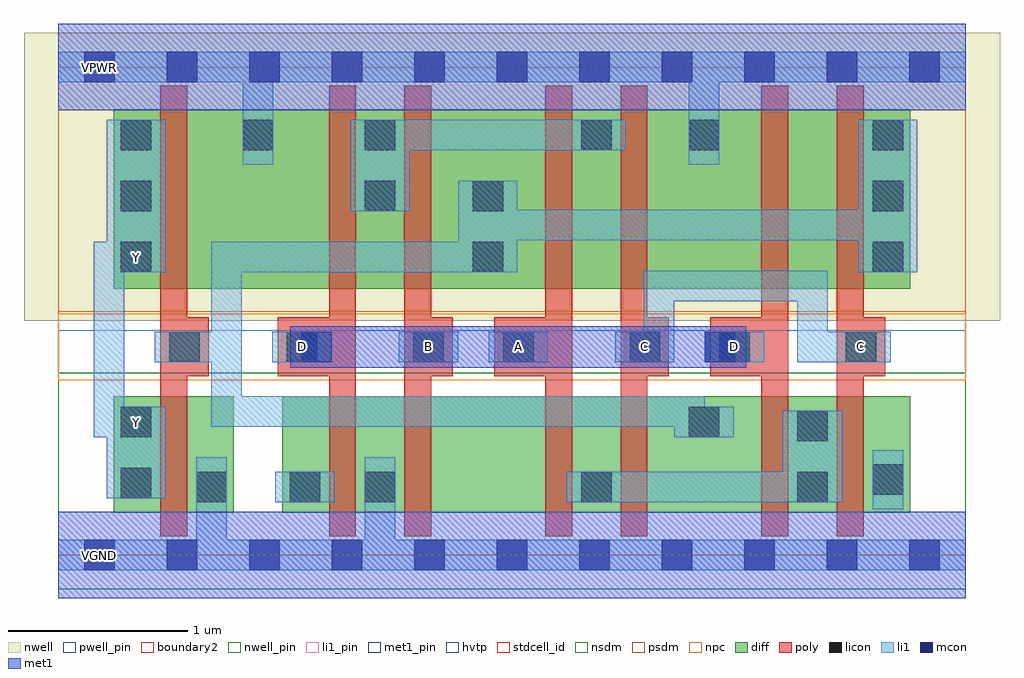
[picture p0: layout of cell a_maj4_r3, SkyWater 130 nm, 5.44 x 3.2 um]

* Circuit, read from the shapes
.subckt a_maj4_r3 A B C D VGND VNB VPB VPWR Y
XM1 VGND n1 Y VNB sky130_fd_pr__nfet_01v8 w=0.65 l=0.15
XM2 VGND D n2 VNB sky130_fd_pr__nfet_01v8 w=0.65 l=0.15
XM3 n3 B VGND VNB sky130_fd_pr__nfet_01v8 w=0.65 l=0.15
XM4 n4 A n3 VNB sky130_fd_pr__nfet_01v8 w=0.65 l=0.15
XM5 n1 C n4 VNB sky130_fd_pr__nfet_01v8 w=0.65 l=0.15
XM6 n4 D n1 VNB sky130_fd_pr__nfet_01v8 w=0.65 l=0.15
XM7 n5 C n4 VNB sky130_fd_pr__nfet_01v8 w=0.65 l=0.15
XM8 VPWR n1 Y VPB sky130_fd_pr__pfet_01v8_hvt w=1 l=0.15
XM9 n6 D VPWR VPB sky130_fd_pr__pfet_01v8_hvt w=1 l=0.15
XM10 n1 B n6 VPB sky130_fd_pr__pfet_01v8_hvt w=1 l=0.15
XM11 n6 A n1 VPB sky130_fd_pr__pfet_01v8_hvt w=1 l=0.15
XM12 VPWR C n6 VPB sky130_fd_pr__pfet_01v8_hvt w=1 l=0.15
XM13 n7 D VPWR VPB sky130_fd_pr__pfet_01v8_hvt w=1 l=0.15
XM14 n1 C n7 VPB sky130_fd_pr__pfet_01v8_hvt w=1 l=0.15
.ends

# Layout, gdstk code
import gdstk
lib = gdstk.Library(unit=1e-6, precision=1e-09)
def R(c, l, rs):  # rectangles x0, y0, x1, y1
    for r in rs: c.add(gdstk.rectangle(r[:2], r[2:], *l))
def A(c, l, x, y, w, h, nx, ny, dx, dy):  # array of equal rectangles
    R(c, l, [(x+i*dx, y+j*dy, x+i*dx+w, y+j*dy+h) for i in range(nx) for j in range(ny)])
nwell_pin = (64, 16)
nwell = (64, 20)
diff = (65, 20)
poly = (66, 20)
licon = (66, 44)
li1_pin = (67, 16)
li1 = (67, 20)
mcon = (67, 44)
met1_pin = (68, 16)
met1 = (68, 20)
hvtp = (78, 44)
stdcell_id = (81, 4)
nsdm = (93, 44)
psdm = (94, 20)
npc = (95, 20)
pwell_pin = (122, 16)
boundary2 = (236, 0)

a_maj4_r3 = lib.new_cell('a_maj4_r3')
R(a_maj4_r3, nwell_pin, [(0.145,2.635,0.315,2.805)])
R(a_maj4_r3, nwell, [(-0.19,1.305,5.25,2.91)])
R(a_maj4_r3, diff, [(0.31,0.235,0.98,0.885), (1.25,0.235,1.795,0.885), (1.795,0.235,2.4,0.885), (2.4,0.235,3,0.885), (3,0.235,3.6,0.885), (3.6,0.235,4.205,0.885), (4.205,0.235,4.75,0.885), (0.31,1.485,1.115,2.485), (1.115,1.485,1.795,2.485), (1.795,1.485,2.4,2.485), (2.4,1.485,3,2.485), (3,1.485,3.6,2.485), (3.6,1.485,4.205,2.485), (4.205,1.485,4.75,2.485)])
A(a_maj4_r3, poly, 1.225, 0.995, 0.435, 0.33, 3, 1, 1.205, 0)
A(a_maj4_r3, poly, 1.93, 0.995, 0.27, 0.33, 3, 1, 1.205, 0)
R(a_maj4_r3, poly, [(0.57,0.105,0.72,2.615), (1.51,0.105,1.66,2.615), (1.93,0.105,2.08,2.615), (2.715,0.105,2.865,2.615), (3.135,0.105,3.285,2.615), (3.92,0.105,4.07,2.615), (4.34,0.105,4.49,2.615), (0.57,0.995,0.84,1.325)])
A(a_maj4_r3, licon, 1.71, 0.295, 0.17, 0.17, 3, 1, 1.205, 0)
A(a_maj4_r3, licon, 4.54, 1.575, 0.17, 0.17, 1, 3, 0, 0.34)
A(a_maj4_r3, licon, 0.35, 2.255, 0.17, 0.17, 3, 1, 0.68, 0)
R(a_maj4_r3, licon, [(0.77,0.295,0.94,0.465), (1.29,0.295,1.46,0.465), (0.35,0.315,0.52,0.485), (4.54,0.335,4.71,0.505), (4.12,0.635,4.29,0.805), (0.35,0.655,0.52,0.825), (3.515,0.655,3.685,0.825), (0.62,1.075,0.79,1.245), (1.275,1.075,1.445,1.245), (1.98,1.075,2.15,1.245), (2.48,1.075,2.65,1.245), (3.185,1.075,3.355,1.245), (3.685,1.075,3.855,1.245), (4.39,1.075,4.56,1.245), (0.35,1.575,0.52,1.745), (2.31,1.575,2.48,1.745), (0.35,1.915,0.52,2.085), (1.71,1.915,1.88,2.085), (2.31,1.915,2.48,2.085), (2.915,2.255,3.085,2.425), (3.515,2.255,3.685,2.425)])
R(a_maj4_r3, li1_pin, [(0.35,0.655,0.52,0.825), (1.275,1.075,1.445,1.245), (1.98,1.075,2.15,1.245), (2.48,1.075,2.65,1.245), (3.185,1.075,3.355,1.245), (3.685,1.075,3.855,1.245), (4.39,1.075,4.56,1.245), (0.35,1.575,0.52,1.745)])
R(a_maj4_r3, li1, [(0,-0.085,5.06,0.085), (0.77,-0.085,0.94,0.545), (1.71,-0.085,1.88,0.545), (4.54,0.255,4.71,0.585), (1.21,0.295,1.54,0.465), (2.835,0.295,3.165,0.465), (2.995,0.295,4.21,0.465), (4.04,0.295,4.37,0.465), (4.04,0.295,4.37,0.805), (0.27,0.315,0.6,0.825), (0.2,0.655,0.44,0.825), (0.2,0.655,0.37,1.745), (0.27,0.655,0.6,0.825), (3.435,0.655,3.765,0.825), (3.435,0.655,3.605,0.885), (0.855,0.715,1.025,1.245), (0.855,0.715,3.605,0.885), (0.54,1.075,0.87,1.245), (0.7,1.075,1.025,1.245), (0.855,1.075,1.025,1.745), (1.195,1.075,1.525,1.245), (1.9,1.075,2.23,1.245), (2.4,1.075,2.73,1.245), (3.105,1.075,3.435,1.245), (3.265,1.075,3.435,1.585), (3.605,1.075,3.935,1.245), (4.12,1.075,4.29,1.585), (4.12,1.075,4.48,1.245), (4.29,1.075,4.31,1.245), (4.29,1.075,4.31,1.245), (4.29,1.075,4.31,1.245), (4.29,1.075,4.31,1.245), (4.31,1.075,4.64,1.245), (3.265,1.415,4.29,1.585), (0.2,1.575,0.44,1.745), (0.27,1.575,0.6,1.745), (0.27,1.575,0.6,2.085), (0.855,1.575,2.4,1.745), (2.23,1.575,2.56,1.745), (2.23,1.575,2.56,2.085), (2.39,1.575,2.56,1.925), (4.46,1.575,4.79,1.745), (4.46,1.575,4.63,1.925), (4.46,1.575,4.79,2.085), (2.39,1.745,2.56,1.755), (2.39,1.745,2.56,1.755), (2.39,1.745,2.56,1.755), (2.39,1.745,2.56,1.755), (2.39,1.745,2.4,1.755), (2.39,1.745,2.4,1.755), (2.39,1.745,2.4,1.755), (2.39,1.745,2.4,1.755), (4.46,1.745,4.63,1.755), (4.46,1.745,4.63,1.755), (4.46,1.745,4.63,1.755), (4.46,1.745,4.63,1.755), (4.46,1.745,4.63,1.755), (4.46,1.745,4.63,1.755), (4.46,1.745,4.63,1.755), (4.46,1.745,4.63,1.755), (2.39,1.755,4.63,1.925), (4.46,1.755,4.63,1.915), (4.46,1.755,4.63,1.915), (4.46,1.755,4.63,1.915), (4.46,1.755,4.63,1.915), (4.46,1.755,4.63,1.915), (4.46,1.755,4.63,1.915), (4.46,1.755,4.63,1.915), (0.27,1.915,0.6,2.425), (1.63,1.915,1.96,2.425), (4.46,1.915,4.79,2.425), (1.03,2.175,1.2,2.805), (3.515,2.175,3.685,2.805), (1.63,2.255,1.96,2.425), (1.79,2.255,3.005,2.425), (2.835,2.255,3.165,2.425), (0,2.635,5.06,2.805)])
A(a_maj4_r3, mcon, 0.145, -0.085, 0.17, 0.17, 11, 2, 0.46, 2.72)
R(a_maj4_r3, mcon, [(1.355,1.075,1.525,1.245), (3.605,1.075,3.775,1.245)])
R(a_maj4_r3, met1_pin, [(0.145,-0.085,0.315,0.085), (0.145,2.635,0.315,2.805)])
R(a_maj4_r3, met1, [(0,-0.24,5.06,0.24), (1.295,1.045,1.585,1.275), (1.325,1.045,3.805,1.275), (3.545,1.045,3.835,1.275), (0,2.48,5.06,2.96)])
R(a_maj4_r3, hvtp, [(0,1.25,5.06,2.72)])
R(a_maj4_r3, stdcell_id, [(0,0,5.06,2.72)])
R(a_maj4_r3, nsdm, [(0,-0.19,5.06,1.015)])
R(a_maj4_r3, psdm, [(0,1.355,5.06,2.91)])
R(a_maj4_r3, npc, [(0,0.975,5.06,1.345)])
R(a_maj4_r3, pwell_pin, [(0.145,-0.085,0.315,0.085)])
R(a_maj4_r3, boundary2, [(0,0,5.06,2.72)])
a_maj4_r3.add(gdstk.Label('A', (2.565,1.16), layer=67, texttype=5))
a_maj4_r3.add(gdstk.Label('B', (2.065,1.16), layer=67, texttype=5))
a_maj4_r3.add(gdstk.Label('C', (3.27,1.16), layer=67, texttype=5))
a_maj4_r3.add(gdstk.Label('C', (4.475,1.16), layer=67, texttype=5))
a_maj4_r3.add(gdstk.Label('D', (1.36,1.16), layer=67, texttype=5))
a_maj4_r3.add(gdstk.Label('D', (3.77,1.16), layer=67, texttype=5))
a_maj4_r3.add(gdstk.Label('Y', (0.435,0.74), layer=67, texttype=5))
a_maj4_r3.add(gdstk.Label('Y', (0.435,1.66), layer=67, texttype=5))
a_maj4_r3.add(gdstk.Label('VGND', (0.23,0), layer=68, texttype=5))
a_maj4_r3.add(gdstk.Label('VPWR', (0.23,2.72), layer=68, texttype=5))
a_maj4_r3.add(gdstk.Label('VPB', (0.23,2.72), layer=64, texttype=5))
a_maj4_r3.add(gdstk.Label('VNB', (0.23,0), layer=64, texttype=59))

lib.write_gds('a_maj4_r3.gds')
